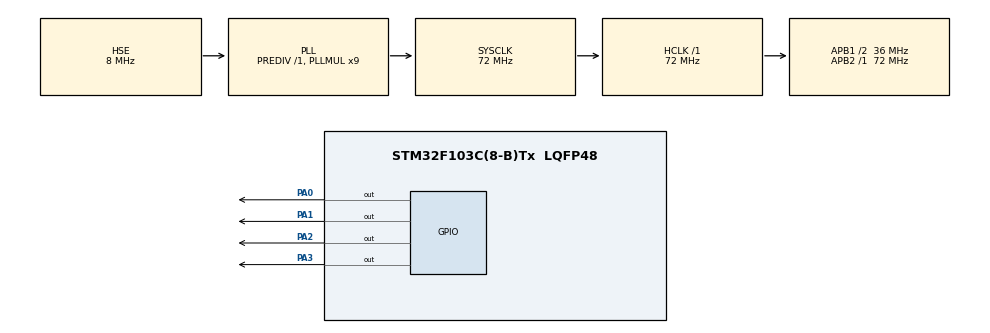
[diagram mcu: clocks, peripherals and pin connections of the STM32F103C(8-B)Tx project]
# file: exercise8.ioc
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FREERTOS.BinarySemaphores01=CriticalResourceSemaphore,Dynamic,NULL,Available
FREERTOS.Tasks01=defaultTask,0,128,StartDefaultTask,Default,NULL,Dynamic,NULL,NULL;Task01,-2,128,greenLedTask,Default,NULL,Dynamic,NULL,NULL;Task02,-2,128,redLedTask,Default,NULL,Dynamic,NULL,NULL;Task03,1,128,orangeLedTask,Default,NULL,Dynamic,NULL,NULL
Mcu.Family=STM32F1
Mcu.Name=STM32F103C(8-B)Tx
Mcu.Package=LQFP48
NVIC.PriorityGroup=NVIC_PRIORITYGROUP_4
PA0-WKUP.Signal=GPIO_Output
PA1.Signal=GPIO_Output
PA13.Mode=Serial_Wire
PA13.Signal=SYS_JTMS-SWDIO
PA14.Mode=Serial_Wire
PA14.Signal=SYS_JTCK-SWCLK
PA2.Signal=GPIO_Output
PA3.Signal=GPIO_Output
PD0-OSC_IN.Mode=HSE-External-Oscillator
PD0-OSC_IN.Signal=RCC_OSC_IN
PD1-OSC_OUT.Mode=HSE-External-Oscillator
PD1-OSC_OUT.Signal=RCC_OSC_OUT
ProjectManager.HeapSize=0x200
ProjectManager.StackSize=0x400
ProjectManager.TargetToolchain=STM32CubeIDE
RCC.AHBFreq_Value=72000000
RCC.APB1CLKDivider=RCC_HCLK_DIV2
RCC.APB1Freq_Value=36000000
RCC.APB1TimFreq_Value=72000000
RCC.APB2Freq_Value=72000000
RCC.APB2TimFreq_Value=72000000
RCC.HCLKFreq_Value=72000000
RCC.PLLMUL=RCC_PLL_MUL9
RCC.PLLSourceVirtual=RCC_PLLSOURCE_HSE
RCC.SYSCLKFreq_VALUE=72000000
RCC.SYSCLKSource=RCC_SYSCLKSOURCE_PLLCLK
RCC.USBFreq_Value=72000000
VP_FREERTOS_VS_CMSIS_V1.Mode=CMSIS_V1
board=custom

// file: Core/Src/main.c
/* USER CODE BEGIN Header */
/**
  ******************************************************************************
  * @file           : main.c
  * @brief          : Main program body
  ******************************************************************************
  * @attention
  *
  * Copyright (c) 2024 STMicroelectronics.
  * All rights reserved.
  *
  * This software is licensed under terms that can be found in the LICENSE file
  * in the root directory of this software component.
  * If no LICENSE file comes with this software, it is provided AS-IS.
  *
  ******************************************************************************
  */
/* USER CODE END Header */
#include "main.h"
#include "cmsis_os.h"

/* USER CODE BEGIN PD */
static volatile uint8_t StartFlag = 1;
#define WaitTimeMilliseconds 0
/* USER CODE END PD */

osThreadId defaultTaskHandle;
osThreadId Task01Handle;
osThreadId Task02Handle;
osThreadId Task03Handle;
osSemaphoreId CriticalResourceSemaphoreHandle;

void SystemClock_Config(void);
static void MX_GPIO_Init(void);
void StartDefaultTask(void const * argument);
void greenLedTask(void const * argument);
void redLedTask(void const * argument);
void orangeLedTask(void const * argument);

int main(void)
{

  /* MCU Configuration--------------------------------------------------------*/

  /* Reset of all peripherals, Initializes the Flash interface and the Systick. */

  HAL_Init();

  /* Configure the system clock */
  SystemClock_Config();

  /* Initialize all configured peripherals */
  MX_GPIO_Init();

  /* Create the semaphores(s) */
  /* definition and creation of CriticalResourceSemaphore */
  osSemaphoreDef(CriticalResourceSemaphore);
  CriticalResourceSemaphoreHandle = osSemaphoreCreate(osSemaphore(CriticalResourceSemaphore), 1);

  /* Create the thread(s) */
  /* definition and creation of defaultTask */
  osThreadDef(defaultTask, StartDefaultTask, osPriorityNormal, 0, 128);
  defaultTaskHandle = osThreadCreate(osThread(defaultTask), NULL);

  /* definition and creation of Task01 */
  osThreadDef(Task01, greenLedTask, osPriorityLow, 0, 128);
  Task01Handle = osThreadCreate(osThread(Task01), NULL);

  /* definition and creation of Task02 */
  osThreadDef(Task02, redLedTask, osPriorityLow, 0, 128);
  Task02Handle = osThreadCreate(osThread(Task02), NULL);

  /* definition and creation of Task03 */
  osThreadDef(Task03, orangeLedTask, osPriorityAboveNormal, 0, 128);
  Task03Handle = osThreadCreate(osThread(Task03), NULL);

  /* Start scheduler */
  osKernelStart();

  /* We should never get here as control is now taken by the scheduler */

  /* Infinite loop */
  while (1)
  {

  }
}

void SystemClock_Config(void)
{
  RCC_OscInitTypeDef RCC_OscInitStruct = {0};
  RCC_ClkInitTypeDef RCC_ClkInitStruct = {0};

  /** Initializes the RCC Oscillators according to the specified parameters
  * in the RCC_OscInitTypeDef structure.
  */
  RCC_OscInitStruct.OscillatorType = RCC_OSCILLATORTYPE_HSE;
  RCC_OscInitStruct.HSEState = RCC_HSE_ON;
  RCC_OscInitStruct.HSEPredivValue = RCC_HSE_PREDIV_DIV1;
  RCC_OscInitStruct.HSIState = RCC_HSI_ON;
  RCC_OscInitStruct.PLL.PLLState = RCC_PLL_ON;
  RCC_OscInitStruct.PLL.PLLSource = RCC_PLLSOURCE_HSE;
  RCC_OscInitStruct.PLL.PLLMUL = RCC_PLL_MUL9;
  if (HAL_RCC_OscConfig(&RCC_OscInitStruct) != HAL_OK)
  {
    Error_Handler();
  }

  /** Initializes the CPU, AHB and APB buses clocks
  */
  RCC_ClkInitStruct.ClockType = RCC_CLOCKTYPE_HCLK|RCC_CLOCKTYPE_SYSCLK
                              |RCC_CLOCKTYPE_PCLK1|RCC_CLOCKTYPE_PCLK2;
  RCC_ClkInitStruct.SYSCLKSource = RCC_SYSCLKSOURCE_PLLCLK;
  RCC_ClkInitStruct.AHBCLKDivider = RCC_SYSCLK_DIV1;
  RCC_ClkInitStruct.APB1CLKDivider = RCC_HCLK_DIV2;
  RCC_ClkInitStruct.APB2CLKDivider = RCC_HCLK_DIV1;

  if (HAL_RCC_ClockConfig(&RCC_ClkInitStruct, FLASH_LATENCY_2) != HAL_OK)
  {
    Error_Handler();
  }
}

static void MX_GPIO_Init(void)
{
  GPIO_InitTypeDef GPIO_InitStruct = {0};

  /* GPIO Ports Clock Enable */
  __HAL_RCC_GPIOD_CLK_ENABLE();
  __HAL_RCC_GPIOA_CLK_ENABLE();

  /*Configure GPIO pin Output Level */
  HAL_GPIO_WritePin(GPIOA, GPIO_PIN_0|GPIO_PIN_1|GPIO_PIN_2|GPIO_PIN_3, GPIO_PIN_RESET);

  /*Configure GPIO pins : PA0 PA1 PA2 PA3 */
  GPIO_InitStruct.Pin = GPIO_PIN_0|GPIO_PIN_1|GPIO_PIN_2|GPIO_PIN_3;
  GPIO_InitStruct.Mode = GPIO_MODE_OUTPUT_PP;
  GPIO_InitStruct.Pull = GPIO_NOPULL;
  GPIO_InitStruct.Speed = GPIO_SPEED_FREQ_LOW;
  HAL_GPIO_Init(GPIOA, &GPIO_InitStruct);

}

/* USER CODE BEGIN 4 */
void AccessSharedData() {
    if (StartFlag == 1) {
    	HAL_GPIO_WritePin(GPIOA, GPIO_PIN_2, GPIO_PIN_SET); // Turn Blue LED OFF
        StartFlag = 0;
        osDelay(1000); // Simulate read/write operation for 1 second
        StartFlag = 1;// Set flag down
    } else if (StartFlag == 0){
        HAL_GPIO_WritePin(GPIOA, GPIO_PIN_2, GPIO_PIN_RESET); // Turn Blue LED ON
    }

}

/* USER CODE END 4 */

void StartDefaultTask(void const * argument)
{
  for(;;)
  {
    osDelay(1);
  }
}

void greenLedTask(void const * argument)
{
  /* USER CODE BEGIN greenLedTask */
	//osDelay(osWaitForever);

  /* Infinite loop */
  for(;;)
  {
	  //taskENTER_CRITICAL();
	  HAL_GPIO_WritePin(GPIOA, GPIO_PIN_0, GPIO_PIN_RESET); // Turn Green LED ON
	  osSemaphoreWait(CriticalResourceSemaphoreHandle,WaitTimeMilliseconds);
	  AccessSharedData();
	  osSemaphoreRelease(CriticalResourceSemaphoreHandle);
	  osDelay(200); // Delay for 200 ms
	  HAL_GPIO_WritePin(GPIOA, GPIO_PIN_0, GPIO_PIN_SET); // Turn Green LED OFF
	  osDelay(200);
  }
  /* USER CODE END greenLedTask */
}

void redLedTask(void const * argument)
{
  /* USER CODE BEGIN redLedTask */
	//osDelay(osWaitForever);
  /* Infinite loop */
  for(;;)
  {
	 // taskENTER_CRITICAL();
	  HAL_GPIO_WritePin(GPIOA, GPIO_PIN_1, GPIO_PIN_RESET); // Turn Red LED ON
	  osSemaphoreWait(CriticalResourceSemaphoreHandle,WaitTimeMilliseconds);
	  AccessSharedData();
	  osSemaphoreRelease(CriticalResourceSemaphoreHandle);
	  osDelay(550); // Delay for 550 ms
	  HAL_GPIO_WritePin(GPIOA, GPIO_PIN_1, GPIO_PIN_SET); // Turn Red LED OFF
	  osDelay(550);
  }
  /* USER CODE END redLedTask */
}

void orangeLedTask(void const * argument)
{
  /* USER CODE BEGIN orangeLedTask */
  /* Infinite loop */
  for(;;)
  {
	  HAL_GPIO_TogglePin(GPIOA, GPIO_PIN_3); // Toggle Orange LED
	  osDelay(50);
  }
  /* USER CODE END orangeLedTask */
}

void Error_Handler(void)
{
  __disable_irq();
  while (1)
  {
  }
}
